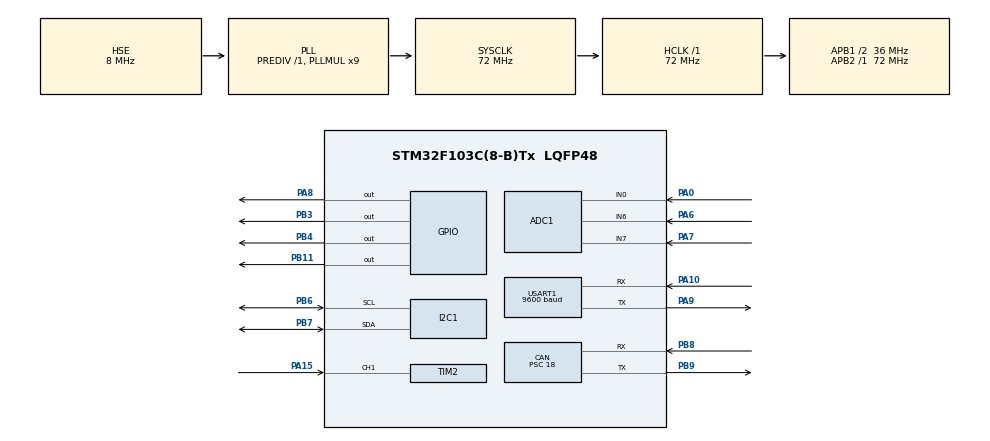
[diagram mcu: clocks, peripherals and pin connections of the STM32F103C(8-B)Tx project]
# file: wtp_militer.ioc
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ADC1.Channel-0\#ChannelRegularConversion=ADC_CHANNEL_0
ADC1.Channel-1\#ChannelRegularConversion=ADC_CHANNEL_6
ADC1.Channel-2\#ChannelRegularConversion=ADC_CHANNEL_7
ADC1.ContinuousConvMode=ENABLE
ADC1.NbrOfConversion=3
ADC1.NbrOfConversionFlag=1
ADC1.Rank-0\#ChannelRegularConversion=1
ADC1.Rank-1\#ChannelRegularConversion=2
ADC1.Rank-2\#ChannelRegularConversion=3
ADC1.SamplingTime-0\#ChannelRegularConversion=ADC_SAMPLETIME_28CYCLES_5
ADC1.SamplingTime-1\#ChannelRegularConversion=ADC_SAMPLETIME_28CYCLES_5
ADC1.SamplingTime-2\#ChannelRegularConversion=ADC_SAMPLETIME_28CYCLES_5
ADC1.master=1
CAN.BS1=CAN_BS1_2TQ
CAN.CalculateBaudRate=500000
CAN.CalculateTimeBit=2000
CAN.CalculateTimeQuantum=500.0
CAN.Prescaler=18
FREERTOS.Tasks01=defaultTask,0,128,StartDefaultTask,Default,NULL,Dynamic,NULL,NULL
FREERTOS.configUSE_NEWLIB_REENTRANT=1
I2C1.I2C_Mode=I2C_Fast
Mcu.Family=STM32F1
Mcu.Name=STM32F103C(8-B)Tx
Mcu.Package=LQFP48
NVIC.CAN1_RX1_IRQn=true\:5\:0\:false\:false\:true\:true\:true\:true\:true
NVIC.PriorityGroup=NVIC_PRIORITYGROUP_4
NVIC.TIM2_IRQn=true\:5\:0\:false\:false\:true\:true\:true\:true\:true
NVIC.TIM4_IRQn=true\:15\:0\:false\:false\:true\:false\:false\:true\:true
NVIC.TimeBase=TIM4_IRQn
NVIC.TimeBaseIP=TIM4
PA0-WKUP.Signal=ADCx_IN0
PA10.Mode=Asynchronous
PA10.Signal=USART1_RX
PA13.Mode=Serial_Wire
PA13.Signal=SYS_JTMS-SWDIO
PA14.Mode=Serial_Wire
PA14.Signal=SYS_JTCK-SWCLK
PA15.Signal=S_TIM2_CH1_ETR
PA6.Signal=ADCx_IN6
PA7.Signal=ADCx_IN7
PA8.PinState=GPIO_PIN_SET
PA8.Signal=GPIO_Output
PA9.Mode=Asynchronous
PA9.Signal=USART1_TX
PB11.PinState=GPIO_PIN_SET
PB11.Signal=GPIO_Output
PB3.Signal=GPIO_Output
PB4.Signal=GPIO_Output
PB6.Mode=I2C
PB6.Signal=I2C1_SCL
PB7.Mode=I2C
PB7.Signal=I2C1_SDA
PB8.Mode=CAN_Activate
PB8.Signal=CAN_RX
PB9.Mode=CAN_Activate
PB9.Signal=CAN_TX
PD0-OSC_IN.Mode=HSE-External-Oscillator
PD0-OSC_IN.Signal=RCC_OSC_IN
PD1-OSC_OUT.Mode=HSE-External-Oscillator
PD1-OSC_OUT.Signal=RCC_OSC_OUT
ProjectManager.HeapSize=0x200
ProjectManager.StackSize=0x400
ProjectManager.TargetToolchain=STM32CubeIDE
RCC.ADCPresc=RCC_ADCPCLK2_DIV6
RCC.AHBFreq_Value=72000000
RCC.APB1CLKDivider=RCC_HCLK_DIV2
RCC.APB1Freq_Value=36000000
RCC.APB1TimFreq_Value=72000000
RCC.APB2Freq_Value=72000000
RCC.APB2TimFreq_Value=72000000
RCC.HCLKFreq_Value=72000000
RCC.PLLMUL=RCC_PLL_MUL9
RCC.PLLSourceVirtual=RCC_PLLSOURCE_HSE
RCC.SYSCLKFreq_VALUE=72000000
RCC.SYSCLKSource=RCC_SYSCLKSOURCE_PLLCLK
RCC.USBFreq_Value=72000000
SH.ADCx_IN0.0=ADC1_IN0,IN0
SH.ADCx_IN6.0=ADC1_IN6,IN6
SH.ADCx_IN7.0=ADC1_IN7,IN7
SH.S_TIM2_CH1_ETR.0=TIM2_CH1,Input_Capture1_from_TI1
TIM2.Channel-Input_Capture1_from_TI1=TIM_CHANNEL_1
TIM2.Period=65535-1
TIM2.Prescaler=72-1
TIM3.Period=65535-1
TIM3.Prescaler=72-1
USART1.BaudRate=9600
USART1.VirtualMode=VM_ASYNC
VP_FREERTOS_VS_CMSIS_V1.Mode=CMSIS_V1
VP_SYS_VS_tim4.Mode=TIM4
VP_TIM2_VS_ClockSourceINT.Mode=Internal
VP_TIM3_VS_ClockSourceINT.Mode=Internal
board=custom

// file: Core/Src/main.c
/* USER CODE BEGIN Header */
/**
 ******************************************************************************
 * @file           : main.c
 * @brief          : Main program body
 ******************************************************************************
 * @attention
 *
 * Copyright (c) 2022 STMicroelectronics.
 * All rights reserved.
 *
 * This software is licensed under terms that can be found in the LICENSE file
 * in the root directory of this software component.
 * If no LICENSE file comes with this software, it is provided AS-IS.
 *
 ******************************************************************************
 */
/* USER CODE END Header */
#include "main.h"
#include "cmsis_os.h"

/* USER CODE BEGIN Includes */
//#include "string.h"
#include "com_can.h"
//#include "FLASH.h"
//#include <gpio.h>
//#include <HC04.h>
#include "fungsi.h"
/* USER CODE END Includes */

/* USER CODE BEGIN PTD */

// ---------------gpio--------------- //
/* USER CODE END PTD */

ADC_HandleTypeDef hadc1;

CAN_HandleTypeDef hcan;

I2C_HandleTypeDef hi2c1;

TIM_HandleTypeDef htim2;
TIM_HandleTypeDef htim3;

UART_HandleTypeDef huart1;

osThreadId defaultTaskHandle;

void SystemClock_Config(void);
static void MX_GPIO_Init(void);
static void MX_CAN_Init(void);
static void MX_TIM2_Init(void);
static void MX_TIM3_Init(void);
static void MX_I2C1_Init(void);
static void MX_ADC1_Init(void);
static void MX_USART1_UART_Init(void);
void StartDefaultTask(void const *argument);

/* USER CODE BEGIN PFP */
uint8_t cobaTask1;

/* USER CODE END PFP */

int main(void) {

	/* MCU Configuration--------------------------------------------------------*/

	/* Reset of all peripherals, Initializes the Flash interface and the Systick. */
	HAL_Init();

	/* Configure the system clock */
	SystemClock_Config();

	/* Initialize all configured peripherals */
	MX_GPIO_Init();
	MX_CAN_Init();
	MX_TIM2_Init();
	MX_TIM3_Init();
	MX_I2C1_Init();
	MX_ADC1_Init();
	MX_USART1_UART_Init();

	/* USER CODE BEGIN RTOS_QUEUES */
	/* add queues, ... */
	fungsiInit();
	/* USER CODE END RTOS_QUEUES */

	/* Create the thread(s) */
	/* definition and creation of defaultTask */
	osThreadDef(defaultTask, StartDefaultTask, osPriorityNormal, 0, 64);
	defaultTaskHandle = osThreadCreate(osThread(defaultTask), NULL);

	/* Start scheduler */
	osKernelStart();

	/* We should never get here as control is now taken by the scheduler */
	/* Infinite loop */
	while (1) {

	}
}

void SystemClock_Config(void) {
	RCC_OscInitTypeDef RCC_OscInitStruct = { 0 };
	RCC_ClkInitTypeDef RCC_ClkInitStruct = { 0 };
	RCC_PeriphCLKInitTypeDef PeriphClkInit = { 0 };

	/** Initializes the RCC Oscillators according to the specified parameters
	 * in the RCC_OscInitTypeDef structure.
	 */
	RCC_OscInitStruct.OscillatorType = RCC_OSCILLATORTYPE_HSE;
	RCC_OscInitStruct.HSEState = RCC_HSE_ON;
	RCC_OscInitStruct.HSEPredivValue = RCC_HSE_PREDIV_DIV1;
	RCC_OscInitStruct.HSIState = RCC_HSI_ON;
	RCC_OscInitStruct.PLL.PLLState = RCC_PLL_ON;
	RCC_OscInitStruct.PLL.PLLSource = RCC_PLLSOURCE_HSE;
	RCC_OscInitStruct.PLL.PLLMUL = RCC_PLL_MUL9;
	if (HAL_RCC_OscConfig(&RCC_OscInitStruct) != HAL_OK) {
		Error_Handler();
	}

	/** Initializes the CPU, AHB and APB buses clocks
	 */
	RCC_ClkInitStruct.ClockType = RCC_CLOCKTYPE_HCLK | RCC_CLOCKTYPE_SYSCLK
			| RCC_CLOCKTYPE_PCLK1 | RCC_CLOCKTYPE_PCLK2;
	RCC_ClkInitStruct.SYSCLKSource = RCC_SYSCLKSOURCE_PLLCLK;
	RCC_ClkInitStruct.AHBCLKDivider = RCC_SYSCLK_DIV1;
	RCC_ClkInitStruct.APB1CLKDivider = RCC_HCLK_DIV2;
	RCC_ClkInitStruct.APB2CLKDivider = RCC_HCLK_DIV1;

	if (HAL_RCC_ClockConfig(&RCC_ClkInitStruct, FLASH_LATENCY_2) != HAL_OK) {
		Error_Handler();
	}
	PeriphClkInit.PeriphClockSelection = RCC_PERIPHCLK_ADC;
	PeriphClkInit.AdcClockSelection = RCC_ADCPCLK2_DIV6;
	if (HAL_RCCEx_PeriphCLKConfig(&PeriphClkInit) != HAL_OK) {
		Error_Handler();
	}
}

static void MX_ADC1_Init(void) {

	ADC_ChannelConfTypeDef sConfig = { 0 };

	/** Common config
	 */
	hadc1.Instance = ADC1;
	hadc1.Init.ScanConvMode = ADC_SCAN_ENABLE;
	hadc1.Init.ContinuousConvMode = ENABLE;
	hadc1.Init.DiscontinuousConvMode = DISABLE;
	hadc1.Init.ExternalTrigConv = ADC_SOFTWARE_START;
	hadc1.Init.DataAlign = ADC_DATAALIGN_RIGHT;
	hadc1.Init.NbrOfConversion = 1;
	if (HAL_ADC_Init(&hadc1) != HAL_OK) {
		Error_Handler();
	}
//
//  /** Configure Regular Channel
//  */
//  sConfig.Channel = ADC_CHANNEL_0;
//  sConfig.Rank = ADC_REGULAR_RANK_1;
//  sConfig.SamplingTime = ADC_SAMPLETIME_28CYCLES_5;
//  if (HAL_ADC_ConfigChannel(&hadc1, &sConfig) != HAL_OK)
//  {
//    Error_Handler();
//  }
//
//  /** Configure Regular Channel
//  */
//  sConfig.Channel = ADC_CHANNEL_6;
//  sConfig.Rank = ADC_REGULAR_RANK_2;
//  if (HAL_ADC_ConfigChannel(&hadc1, &sConfig) != HAL_OK)
//  {
//    Error_Handler();
//  }
//
//  /** Configure Regular Channel
//  */
//  sConfig.Channel = ADC_CHANNEL_7;
//  sConfig.Rank = ADC_REGULAR_RANK_3;
//  if (HAL_ADC_ConfigChannel(&hadc1, &sConfig) != HAL_OK)
//  {
//    Error_Handler();
//  }
//  /* USER CODE BEGIN ADC1_Init 2 */
//
//  /* USER CODE END ADC1_Init 2 */

}

static void MX_CAN_Init(void) {

	hcan.Instance = CAN1;
	hcan.Init.Prescaler = 18;
	hcan.Init.Mode = CAN_MODE_NORMAL;
	hcan.Init.SyncJumpWidth = CAN_SJW_1TQ;
	hcan.Init.TimeSeg1 = CAN_BS1_2TQ;
	hcan.Init.TimeSeg2 = CAN_BS2_1TQ;
	hcan.Init.TimeTriggeredMode = DISABLE;
	hcan.Init.AutoBusOff = DISABLE;
	hcan.Init.AutoWakeUp = DISABLE;
	hcan.Init.AutoRetransmission = DISABLE;
	hcan.Init.ReceiveFifoLocked = DISABLE;
	hcan.Init.TransmitFifoPriority = DISABLE;
	if (HAL_CAN_Init(&hcan) != HAL_OK) {
		Error_Handler();
	}
	/* USER CODE BEGIN CAN_Init 2 */
	CAN_FilterTypeDef canfilterconfig;

	canfilterconfig.FilterActivation = CAN_FILTER_ENABLE;
	canfilterconfig.FilterBank = 10; // which filter bank to use from the assigned ones
	canfilterconfig.FilterFIFOAssignment = CAN_FILTER_FIFO1;
	canfilterconfig.FilterIdHigh = 0x1 >> 11;
	canfilterconfig.FilterIdLow = 0;
	canfilterconfig.FilterMaskIdHigh = 0x1 >> 11;
	canfilterconfig.FilterMaskIdLow = 0x0000;
	canfilterconfig.FilterMode = CAN_FILTERMODE_IDMASK;
	canfilterconfig.FilterScale = CAN_FILTERSCALE_32BIT;
	canfilterconfig.SlaveStartFilterBank = 0; // how many filters to assign to the CAN1 (master can)

	HAL_CAN_ConfigFilter(&hcan, &canfilterconfig);

	HAL_CAN_Start(&hcan);

	HAL_CAN_ActivateNotification(&hcan, CAN_IT_RX_FIFO1_MSG_PENDING);
	/* USER CODE END CAN_Init 2 */

}

static void MX_I2C1_Init(void) {

	hi2c1.Instance = I2C1;
	hi2c1.Init.ClockSpeed = 400000;
	hi2c1.Init.DutyCycle = I2C_DUTYCYCLE_2;
	hi2c1.Init.OwnAddress1 = 0;
	hi2c1.Init.AddressingMode = I2C_ADDRESSINGMODE_7BIT;
	hi2c1.Init.DualAddressMode = I2C_DUALADDRESS_DISABLE;
	hi2c1.Init.OwnAddress2 = 0;
	hi2c1.Init.GeneralCallMode = I2C_GENERALCALL_DISABLE;
	hi2c1.Init.NoStretchMode = I2C_NOSTRETCH_DISABLE;
	if (HAL_I2C_Init(&hi2c1) != HAL_OK) {
		Error_Handler();
	}

}

static void MX_TIM2_Init(void) {

	TIM_ClockConfigTypeDef sClockSourceConfig = { 0 };
	TIM_MasterConfigTypeDef sMasterConfig = { 0 };
	TIM_IC_InitTypeDef sConfigIC = { 0 };

	htim2.Instance = TIM2;
	htim2.Init.Prescaler = 72 - 1;
	htim2.Init.CounterMode = TIM_COUNTERMODE_UP;
	htim2.Init.Period = 65535 - 1;
	htim2.Init.ClockDivision = TIM_CLOCKDIVISION_DIV1;
	htim2.Init.AutoReloadPreload = TIM_AUTORELOAD_PRELOAD_DISABLE;
	if (HAL_TIM_Base_Init(&htim2) != HAL_OK) {
		Error_Handler();
	}
	sClockSourceConfig.ClockSource = TIM_CLOCKSOURCE_INTERNAL;
	if (HAL_TIM_ConfigClockSource(&htim2, &sClockSourceConfig) != HAL_OK) {
		Error_Handler();
	}
	if (HAL_TIM_IC_Init(&htim2) != HAL_OK) {
		Error_Handler();
	}
	sMasterConfig.MasterOutputTrigger = TIM_TRGO_RESET;
	sMasterConfig.MasterSlaveMode = TIM_MASTERSLAVEMODE_DISABLE;
	if (HAL_TIMEx_MasterConfigSynchronization(&htim2, &sMasterConfig)
			!= HAL_OK) {
		Error_Handler();
	}
	sConfigIC.ICPolarity = TIM_INPUTCHANNELPOLARITY_RISING;
	sConfigIC.ICSelection = TIM_ICSELECTION_DIRECTTI;
	sConfigIC.ICPrescaler = TIM_ICPSC_DIV1;
	sConfigIC.ICFilter = 0;
	if (HAL_TIM_IC_ConfigChannel(&htim2, &sConfigIC, TIM_CHANNEL_1) != HAL_OK) {
		Error_Handler();
	}
	/* USER CODE BEGIN TIM2_Init 2 */
	HAL_TIM_IC_Start_IT(&htim2, TIM_CHANNEL_1);
	/* USER CODE END TIM2_Init 2 */

}

static void MX_TIM3_Init(void) {

	TIM_ClockConfigTypeDef sClockSourceConfig = { 0 };
	TIM_MasterConfigTypeDef sMasterConfig = { 0 };

	htim3.Instance = TIM3;
	htim3.Init.Prescaler = 72 - 1;
	htim3.Init.CounterMode = TIM_COUNTERMODE_UP;
	htim3.Init.Period = 65535 - 1;
	htim3.Init.ClockDivision = TIM_CLOCKDIVISION_DIV1;
	htim3.Init.AutoReloadPreload = TIM_AUTORELOAD_PRELOAD_DISABLE;
	if (HAL_TIM_Base_Init(&htim3) != HAL_OK) {
		Error_Handler();
	}
	sClockSourceConfig.ClockSource = TIM_CLOCKSOURCE_INTERNAL;
	if (HAL_TIM_ConfigClockSource(&htim3, &sClockSourceConfig) != HAL_OK) {
		Error_Handler();
	}
	sMasterConfig.MasterOutputTrigger = TIM_TRGO_RESET;
	sMasterConfig.MasterSlaveMode = TIM_MASTERSLAVEMODE_DISABLE;
	if (HAL_TIMEx_MasterConfigSynchronization(&htim3, &sMasterConfig)
			!= HAL_OK) {
		Error_Handler();
	}

}

static void MX_USART1_UART_Init(void) {

	huart1.Instance = USART1;
	huart1.Init.BaudRate = 9600;
	huart1.Init.WordLength = UART_WORDLENGTH_8B;
	huart1.Init.StopBits = UART_STOPBITS_1;
	huart1.Init.Parity = UART_PARITY_NONE;
	huart1.Init.Mode = UART_MODE_TX_RX;
	huart1.Init.HwFlowCtl = UART_HWCONTROL_NONE;
	huart1.Init.OverSampling = UART_OVERSAMPLING_16;
	if (HAL_UART_Init(&huart1) != HAL_OK) {
		Error_Handler();
	}

}

static void MX_GPIO_Init(void) {
	GPIO_InitTypeDef GPIO_InitStruct = { 0 };

	/* GPIO Ports Clock Enable */
	__HAL_RCC_GPIOD_CLK_ENABLE();
	__HAL_RCC_GPIOA_CLK_ENABLE();
	__HAL_RCC_GPIOB_CLK_ENABLE();

	/*Configure GPIO pin Output Level */
	HAL_GPIO_WritePin(GPIOB, GPIO_PIN_11, GPIO_PIN_SET);

	/*Configure GPIO pin Output Level */
	HAL_GPIO_WritePin(GPIOA, GPIO_PIN_8, GPIO_PIN_SET);

	/*Configure GPIO pin Output Level */
	HAL_GPIO_WritePin(GPIOB, GPIO_PIN_3 | GPIO_PIN_4, GPIO_PIN_RESET);

	/*Configure GPIO pins : PB11 PB3 PB4 */
	GPIO_InitStruct.Pin = GPIO_PIN_11 | GPIO_PIN_3 | GPIO_PIN_4;
	GPIO_InitStruct.Mode = GPIO_MODE_OUTPUT_PP;
	GPIO_InitStruct.Pull = GPIO_NOPULL;
	GPIO_InitStruct.Speed = GPIO_SPEED_FREQ_LOW;
	HAL_GPIO_Init(GPIOB, &GPIO_InitStruct);

	/*Configure GPIO pin : PA8 */
	GPIO_InitStruct.Pin = GPIO_PIN_8;
	GPIO_InitStruct.Mode = GPIO_MODE_OUTPUT_PP;
	GPIO_InitStruct.Pull = GPIO_NOPULL;
	GPIO_InitStruct.Speed = GPIO_SPEED_FREQ_LOW;
	HAL_GPIO_Init(GPIOA, &GPIO_InitStruct);

}

void StartDefaultTask(void const *argument) {
	/* USER CODE BEGIN 5 */
	//uint8_t send[8] = "rangga";
//	comm_can_set_duty(0, 95);
//	comm_can_db_signal(0, 2);
	/* Infinite loop */
	for (;;) {
//		for (uint8_t a = 0; a < 8; a++) {
//			//HAL_GPIO_TogglePin(GPIOC, GPIO_PIN_13);
//			osDelay(50);
//		}
//		comm_can_transmit_eid(4, send, 8);
		cobaTask1++;
		osDelay(10000);
//		comm_can_set_duty(0, 0);
//		comm_can_db_signal(0, 0);
//		osDelay(1000);
	}
	/* USER CODE END 5 */
}

void HAL_TIM_PeriodElapsedCallback(TIM_HandleTypeDef *htim) {
	if (htim->Instance == TIM4) {
		HAL_IncTick();
	}
}

void Error_Handler(void) {
	__disable_irq();
	while (1) {
	}
}
